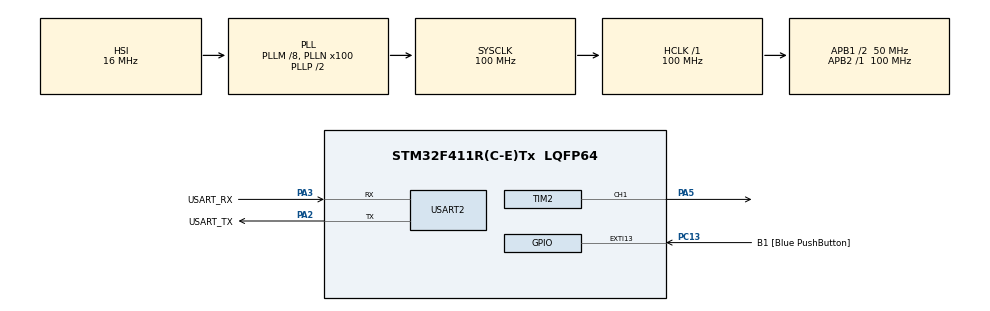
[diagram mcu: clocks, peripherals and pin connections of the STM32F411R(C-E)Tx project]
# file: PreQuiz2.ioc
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Dma.Request0=USART2_RX
Dma.Request1=USART2_TX
Dma.USART2_RX.0.Direction=DMA_PERIPH_TO_MEMORY
Dma.USART2_RX.0.FIFOMode=DMA_FIFOMODE_DISABLE
Dma.USART2_RX.0.Instance=DMA1_Stream5
Dma.USART2_RX.0.MemDataAlignment=DMA_MDATAALIGN_BYTE
Dma.USART2_RX.0.MemInc=DMA_MINC_ENABLE
Dma.USART2_RX.0.Mode=DMA_NORMAL
Dma.USART2_RX.0.PeriphDataAlignment=DMA_PDATAALIGN_BYTE
Dma.USART2_RX.0.PeriphInc=DMA_PINC_DISABLE
Dma.USART2_RX.0.Priority=DMA_PRIORITY_LOW
Dma.USART2_TX.1.Direction=DMA_MEMORY_TO_PERIPH
Dma.USART2_TX.1.FIFOMode=DMA_FIFOMODE_DISABLE
Dma.USART2_TX.1.Instance=DMA1_Stream6
Dma.USART2_TX.1.MemDataAlignment=DMA_MDATAALIGN_BYTE
Dma.USART2_TX.1.MemInc=DMA_MINC_ENABLE
Dma.USART2_TX.1.Mode=DMA_NORMAL
Dma.USART2_TX.1.PeriphDataAlignment=DMA_PDATAALIGN_BYTE
Dma.USART2_TX.1.PeriphInc=DMA_PINC_DISABLE
Dma.USART2_TX.1.Priority=DMA_PRIORITY_LOW
Mcu.Family=STM32F4
Mcu.Name=STM32F411R(C-E)Tx
Mcu.Package=LQFP64
NVIC.DMA1_Stream5_IRQn=true\:0\:0\:false\:false\:true\:false\:true\:true
NVIC.DMA1_Stream6_IRQn=true\:0\:0\:false\:false\:true\:false\:true\:true
NVIC.EXTI15_10_IRQn=true\:0\:0\:false\:false\:true\:true\:true\:true
NVIC.PriorityGroup=NVIC_PRIORITYGROUP_0
NVIC.TIM5_IRQn=true\:0\:0\:false\:false\:true\:true\:true\:true
NVIC.USART2_IRQn=true\:0\:0\:false\:false\:true\:true\:true\:true
PA13.GPIO_Label=TMS
PA13.Mode=Serial_Wire
PA13.Signal=SYS_JTMS-SWDIO
PA14.GPIO_Label=TCK
PA14.Mode=Serial_Wire
PA14.Signal=SYS_JTCK-SWCLK
PA2.GPIO_Label=USART_TX
PA2.Mode=Asynchronous
PA2.Signal=USART2_TX
PA3.GPIO_Label=USART_RX
PA3.Mode=Asynchronous
PA3.Signal=USART2_RX
PA5.Signal=S_TIM2_CH1_ETR
PB3.GPIO_Label=SWO
PB3.Signal=SYS_JTDO-SWO
PC13-ANTI_TAMP.GPIO_Label=B1 [Blue PushButton]
PC13-ANTI_TAMP.GPIO_ModeDefaultEXTI=GPIO_MODE_IT_FALLING
PC13-ANTI_TAMP.Signal=GPXTI13
PC14-OSC32_IN.Mode=LSE-External-Oscillator
PC14-OSC32_IN.Signal=RCC_OSC32_IN
PC15-OSC32_OUT.Mode=LSE-External-Oscillator
PC15-OSC32_OUT.Signal=RCC_OSC32_OUT
PH0\ -\ OSC_IN.Mode=HSE-External-Clock-Source
PH0\ -\ OSC_IN.Signal=RCC_OSC_IN
PH1\ -\ OSC_OUT.Mode=HSE-External-Clock-Source
PH1\ -\ OSC_OUT.Signal=RCC_OSC_OUT
ProjectManager.HeapSize=0x200
ProjectManager.StackSize=0x400
ProjectManager.TargetToolchain=STM32CubeIDE
RCC.48MHZClocksFreq_Value=50000000
RCC.AHBFreq_Value=100000000
RCC.APB1CLKDivider=RCC_HCLK_DIV2
RCC.APB1Freq_Value=50000000
RCC.APB1TimFreq_Value=100000000
RCC.APB2Freq_Value=100000000
RCC.APB2TimFreq_Value=100000000
RCC.CortexFreq_Value=100000000
RCC.FLatency-AdvancedSettings=FLASH_LATENCY_3
RCC.HCLKFreq_Value=100000000
RCC.HSE_VALUE=8000000
RCC.HSI_VALUE=16000000
RCC.PLLM=8
RCC.PLLN=100
RCC.SYSCLKFreq_VALUE=100000000
RCC.SYSCLKSource=RCC_SYSCLKSOURCE_PLLCLK
RCC.VCOOutputFreq_Value=200000000
SH.S_TIM2_CH1_ETR.0=TIM2_CH1,PWM Generation1 CH1
TIM2.Channel-PWM\ Generation1\ CH1=TIM_CHANNEL_1
TIM2.Period=100
TIM2.Prescaler=100
TIM5.Period=10000000
TIM5.Prescaler=100
USART2.VirtualMode=VM_ASYNC
VP_TIM5_VS_ClockSourceINT.Mode=Internal
board=NUCLEO-F411RE

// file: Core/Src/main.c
/* USER CODE BEGIN Header */
/**
  ******************************************************************************
  * @file           : main.c
  * @brief          : Main program body
  ******************************************************************************
  * @attention
  *
  * Copyright (c) 2023 STMicroelectronics.
  * All rights reserved.
  *
  * This software is licensed under terms that can be found in the LICENSE file
  * in the root directory of this software component.
  * If no LICENSE file comes with this software, it is provided AS-IS.
  *
  ******************************************************************************
  */
/* USER CODE END Header */
#include "main.h"

TIM_HandleTypeDef htim2;
TIM_HandleTypeDef htim5;

UART_HandleTypeDef huart2;
DMA_HandleTypeDef hdma_usart2_rx;
DMA_HandleTypeDef hdma_usart2_tx;

void SystemClock_Config(void);
static void MX_GPIO_Init(void);
static void MX_DMA_Init(void);
static void MX_USART2_UART_Init(void);
static void MX_TIM2_Init(void);
static void MX_TIM5_Init(void);

/* USER CODE BEGIN 0 */
//																		1 BEGIN
uint8_t message[40],temp;
int idx = 0;
void HAL_UART_RxCpltCallback(UART_HandleTypeDef *huart){
	message[idx++] = temp;
	if(temp == '\r' || temp == '\n'){
		for(int i=0;i<idx/2;i++){
			temp = message[i];
			message[i] = message[idx-i-1];
			message[idx-i-1] = temp;
		}
		for(int i=idx-1;i>=0;i--)
			message[i+2] = message[i];
		message[0] = '\r';
		message[1] = '\n';
		message[idx+2] = '\r';
		message[idx+3] = '\n';
		HAL_UART_Transmit_DMA(&huart2, message, idx+4);
		idx = 0;
	}else{
		HAL_UART_Transmit_DMA(&huart2, &temp, 1);
	}
	HAL_UART_Receive_DMA(&huart2, &temp, 1);
}
//																		1 END
//																		2 BEGIN
void HAL_GPIO_EXTI_Callback(uint16_t GPIO_Pin){
	if(TIM2->CCR1 != 100)
		TIM2->CCR1+=10;
}
void HAL_TIM_PeriodElapsedCallback(TIM_HandleTypeDef *htim){
	if(htim->Instance == TIM5){
		TIM2->CCR1 = 0;
	}
}
//																		2 END
/* USER CODE END 0 */

int main(void)
{

  /* MCU Configuration--------------------------------------------------------*/

  /* Reset of all peripherals, Initializes the Flash interface and the Systick. */
  HAL_Init();

  /* Configure the system clock */
  SystemClock_Config();

  /* Initialize all configured peripherals */
  MX_GPIO_Init();
  MX_DMA_Init();
  MX_USART2_UART_Init();
  MX_TIM2_Init();
  MX_TIM5_Init();
  /* USER CODE BEGIN 2 */
//  																	1 BEGIN
//  HAL_UART_Receive_DMA(&huart2, &temp, 1);
//  																	1 END
//																		2 BEGIN
  HAL_TIM_PWM_Start(&htim2, TIM_CHANNEL_1);
  HAL_TIM_Base_Start_IT(&htim5);
//  																	2 END
  /* USER CODE END 2 */

  /* Infinite loop */
  /* USER CODE BEGIN WHILE */
  while (1)
  {
//	  																	1 BEGIN
//	  HAL_GPIO_TogglePin(GPIOA, GPIO_PIN_5);
//	  HAL_Delay(100);
//	  																	1 END
    /* USER CODE END WHILE */

  }
}

void SystemClock_Config(void)
{
  RCC_OscInitTypeDef RCC_OscInitStruct = {0};
  RCC_ClkInitTypeDef RCC_ClkInitStruct = {0};

  /** Configure the main internal regulator output voltage
  */
  __HAL_RCC_PWR_CLK_ENABLE();
  __HAL_PWR_VOLTAGESCALING_CONFIG(PWR_REGULATOR_VOLTAGE_SCALE1);

  /** Initializes the RCC Oscillators according to the specified parameters
  * in the RCC_OscInitTypeDef structure.
  */
  RCC_OscInitStruct.OscillatorType = RCC_OSCILLATORTYPE_HSI;
  RCC_OscInitStruct.HSIState = RCC_HSI_ON;
  RCC_OscInitStruct.HSICalibrationValue = RCC_HSICALIBRATION_DEFAULT;
  RCC_OscInitStruct.PLL.PLLState = RCC_PLL_ON;
  RCC_OscInitStruct.PLL.PLLSource = RCC_PLLSOURCE_HSI;
  RCC_OscInitStruct.PLL.PLLM = 8;
  RCC_OscInitStruct.PLL.PLLN = 100;
  RCC_OscInitStruct.PLL.PLLP = RCC_PLLP_DIV2;
  RCC_OscInitStruct.PLL.PLLQ = 4;
  if (HAL_RCC_OscConfig(&RCC_OscInitStruct) != HAL_OK)
  {
    Error_Handler();
  }

  /** Initializes the CPU, AHB and APB buses clocks
  */
  RCC_ClkInitStruct.ClockType = RCC_CLOCKTYPE_HCLK|RCC_CLOCKTYPE_SYSCLK
                              |RCC_CLOCKTYPE_PCLK1|RCC_CLOCKTYPE_PCLK2;
  RCC_ClkInitStruct.SYSCLKSource = RCC_SYSCLKSOURCE_PLLCLK;
  RCC_ClkInitStruct.AHBCLKDivider = RCC_SYSCLK_DIV1;
  RCC_ClkInitStruct.APB1CLKDivider = RCC_HCLK_DIV2;
  RCC_ClkInitStruct.APB2CLKDivider = RCC_HCLK_DIV1;

  if (HAL_RCC_ClockConfig(&RCC_ClkInitStruct, FLASH_LATENCY_3) != HAL_OK)
  {
    Error_Handler();
  }
}

static void MX_TIM2_Init(void)
{

  TIM_MasterConfigTypeDef sMasterConfig = {0};
  TIM_OC_InitTypeDef sConfigOC = {0};

  htim2.Instance = TIM2;
  htim2.Init.Prescaler = 100;
  htim2.Init.CounterMode = TIM_COUNTERMODE_UP;
  htim2.Init.Period = 100;
  htim2.Init.ClockDivision = TIM_CLOCKDIVISION_DIV1;
  htim2.Init.AutoReloadPreload = TIM_AUTORELOAD_PRELOAD_DISABLE;
  if (HAL_TIM_PWM_Init(&htim2) != HAL_OK)
  {
    Error_Handler();
  }
  sMasterConfig.MasterOutputTrigger = TIM_TRGO_RESET;
  sMasterConfig.MasterSlaveMode = TIM_MASTERSLAVEMODE_DISABLE;
  if (HAL_TIMEx_MasterConfigSynchronization(&htim2, &sMasterConfig) != HAL_OK)
  {
    Error_Handler();
  }
  sConfigOC.OCMode = TIM_OCMODE_PWM1;
  sConfigOC.Pulse = 0;
  sConfigOC.OCPolarity = TIM_OCPOLARITY_HIGH;
  sConfigOC.OCFastMode = TIM_OCFAST_DISABLE;
  if (HAL_TIM_PWM_ConfigChannel(&htim2, &sConfigOC, TIM_CHANNEL_1) != HAL_OK)
  {
    Error_Handler();
  }
  HAL_TIM_MspPostInit(&htim2);

}

static void MX_TIM5_Init(void)
{

  TIM_ClockConfigTypeDef sClockSourceConfig = {0};
  TIM_MasterConfigTypeDef sMasterConfig = {0};

  htim5.Instance = TIM5;
  htim5.Init.Prescaler = 100;
  htim5.Init.CounterMode = TIM_COUNTERMODE_UP;
  htim5.Init.Period = 10000000;
  htim5.Init.ClockDivision = TIM_CLOCKDIVISION_DIV1;
  htim5.Init.AutoReloadPreload = TIM_AUTORELOAD_PRELOAD_DISABLE;
  if (HAL_TIM_Base_Init(&htim5) != HAL_OK)
  {
    Error_Handler();
  }
  sClockSourceConfig.ClockSource = TIM_CLOCKSOURCE_INTERNAL;
  if (HAL_TIM_ConfigClockSource(&htim5, &sClockSourceConfig) != HAL_OK)
  {
    Error_Handler();
  }
  sMasterConfig.MasterOutputTrigger = TIM_TRGO_RESET;
  sMasterConfig.MasterSlaveMode = TIM_MASTERSLAVEMODE_DISABLE;
  if (HAL_TIMEx_MasterConfigSynchronization(&htim5, &sMasterConfig) != HAL_OK)
  {
    Error_Handler();
  }

}

static void MX_USART2_UART_Init(void)
{

  huart2.Instance = USART2;
  huart2.Init.BaudRate = 115200;
  huart2.Init.WordLength = UART_WORDLENGTH_8B;
  huart2.Init.StopBits = UART_STOPBITS_1;
  huart2.Init.Parity = UART_PARITY_NONE;
  huart2.Init.Mode = UART_MODE_TX_RX;
  huart2.Init.HwFlowCtl = UART_HWCONTROL_NONE;
  huart2.Init.OverSampling = UART_OVERSAMPLING_16;
  if (HAL_UART_Init(&huart2) != HAL_OK)
  {
    Error_Handler();
  }

}

static void MX_DMA_Init(void)
{

  /* DMA controller clock enable */
  __HAL_RCC_DMA1_CLK_ENABLE();

  /* DMA interrupt init */
  /* DMA1_Stream5_IRQn interrupt configuration */
  HAL_NVIC_SetPriority(DMA1_Stream5_IRQn, 0, 0);
  HAL_NVIC_EnableIRQ(DMA1_Stream5_IRQn);
  /* DMA1_Stream6_IRQn interrupt configuration */
  HAL_NVIC_SetPriority(DMA1_Stream6_IRQn, 0, 0);
  HAL_NVIC_EnableIRQ(DMA1_Stream6_IRQn);

}

static void MX_GPIO_Init(void)
{
  GPIO_InitTypeDef GPIO_InitStruct = {0};

  /* GPIO Ports Clock Enable */
  __HAL_RCC_GPIOC_CLK_ENABLE();
  __HAL_RCC_GPIOH_CLK_ENABLE();
  __HAL_RCC_GPIOA_CLK_ENABLE();
  __HAL_RCC_GPIOB_CLK_ENABLE();

  /*Configure GPIO pin : B1_Pin */
  GPIO_InitStruct.Pin = B1_Pin;
  GPIO_InitStruct.Mode = GPIO_MODE_IT_FALLING;
  GPIO_InitStruct.Pull = GPIO_NOPULL;
  HAL_GPIO_Init(B1_GPIO_Port, &GPIO_InitStruct);

  /* EXTI interrupt init*/
  HAL_NVIC_SetPriority(EXTI15_10_IRQn, 0, 0);
  HAL_NVIC_EnableIRQ(EXTI15_10_IRQn);

}

void Error_Handler(void)
{
  __disable_irq();
  while (1)
  {
  }
}
